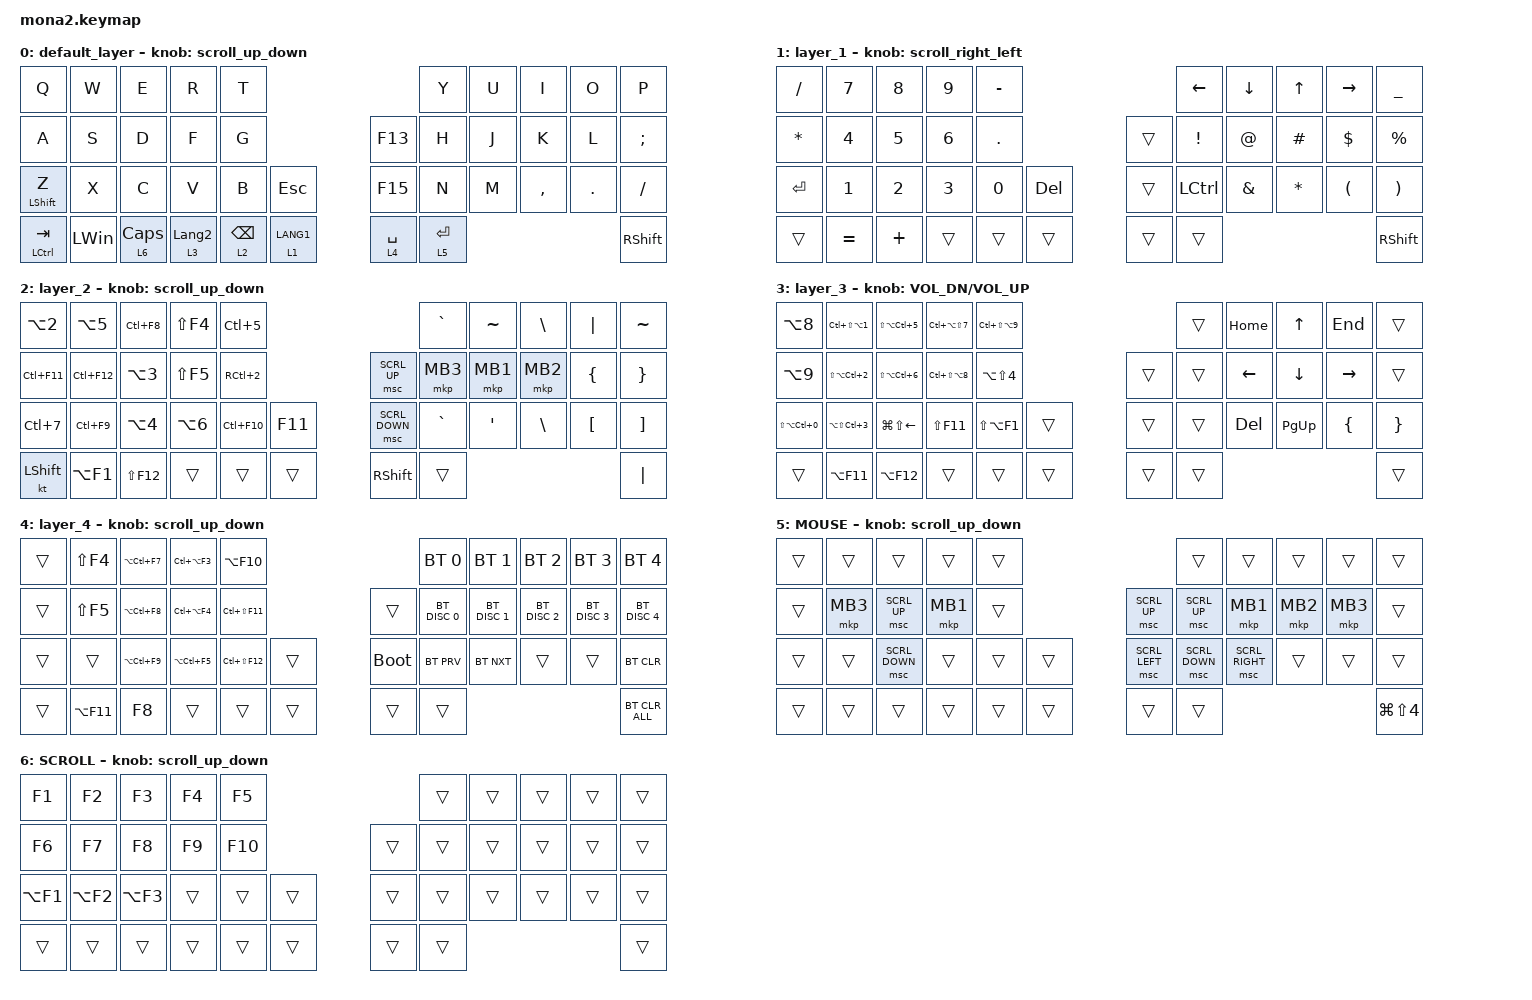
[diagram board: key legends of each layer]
#include <input/processors.dtsi>
#include <dt-bindings/zmk/input_transform.h>
#include <zephyr/dt-bindings/input/input-event-codes.h>
#include <behaviors.dtsi>
#include <dt-bindings/zmk/bt.h>
#include <dt-bindings/zmk/keys.h>
#include <dt-bindings/zmk/pointing.h>

#define ZMK_POINTING_DEFAULT_SCRL_VAL 100
#define MOUSE 5
#define SCROLL 6

&mt {
    flavor = "balanced";
    quick-tap-ms = <0>;
};

&lt {
    quick-tap-ms = <300>;
    flavor = "balanced";
};

/ {
    combos {
        compatible = "zmk,combos";

        layer4_ESC {
            bindings = <&lt 4 ESC>;
            key-positions = <39 38>;
        };

        tab {
            bindings = <&kp TAB>;
            key-positions = <11 12>;
        };
    };

    macros {
        to_layer_0: to_layer_0 {
            compatible = "zmk,behavior-macro-one-param";
            #binding-cells = <1>;
            bindings = <&to 0 &macro_param_1to1 &kp MACRO_PLACEHOLDER>;
            label = "TO_LAYER_0";
        };
    };

    behaviors {
        lt_to_layer_0: lt_to_layer_0 {
            compatible = "zmk,behavior-hold-tap";
            label = "LAYER_TAP_TO_0";
            bindings = <&mo>, <&to_layer_0>;

            #binding-cells = <2>;
            tapping-term-ms = <200>;
        };

        scroll_up_down: mouse_wheel_up_down {
            compatible = "zmk,behavior-sensor-rotate";
            #sensor-binding-cells = <0>;
            bindings = <&msc SCRL_DOWN>, <&msc SCRL_UP>;

            tap-ms = <20>;
        };

        scroll_right_left: mouse_wheel_right_left {
            compatible = "zmk,behavior-sensor-rotate";
            #sensor-binding-cells = <0>;
            bindings = <&msc SCRL_LEFT>, <&msc SCRL_RIGHT>;

            tap-ms = <20>;
        };
    };

    keymap {
        compatible = "zmk,keymap";

        default_layer {
            bindings = <
&kp Q             &kp W         &kp E       &kp R                        &kp T                                                              &kp Y         &kp U  &kp I      &kp O    &kp P
&kp A             &kp S         &kp D       &kp F                        &kp G                                      &kp F13                 &kp H         &kp J  &kp K      &kp L    &kp SEMICOLON
&mt LEFT_SHIFT Z  &kp X         &kp C       &kp V                        &kp B            &kp ESC                   &kp F15                 &kp N         &kp M  &kp COMMA  &kp DOT  &kp SLASH
&mt LCTRL TAB     &kp LEFT_WIN  &lt 6 CAPS  &lt_to_layer_0 3 LANGUAGE_2  &lt 2 BACKSPACE  &lt_to_layer_0 1 LANG1    &lt_to_layer_0 4 SPACE  &lt 5 RETURN                             &kp RIGHT_SHIFT
            >;

            sensor-bindings = <&scroll_up_down>;
        };

        layer_1 {
            bindings = <
&kp SLASH     &kp N7     &kp N8    &kp N9  &kp MINUS                        &kp LEFT         &kp DOWN_ARROW  &kp UP_ARROW  &kp RIGHT             &kp UNDERSCORE
&kp ASTERISK  &kp N4     &kp N5    &kp N6  &kp DOT                  &trans  &kp EXCLAMATION  &kp AT_SIGN     &kp HASH      &kp DOLLAR            &kp PERCENT
&kp ENTER     &kp N1     &kp N2    &kp N3  &kp N0     &kp DELETE    &trans  &kp LCTRL        &kp AMPERSAND   &kp ASTERISK  &kp LEFT_PARENTHESIS  &kp RIGHT_PARENTHESIS
&trans        &kp EQUAL  &kp PLUS  &trans  &trans     &trans        &trans  &trans                                                               &kp RIGHT_SHIFT
            >;

            sensor-bindings = <&scroll_right_left>;
        };

        layer_2 {
            bindings = <
&kp LA(NUMBER_2)  &kp LA(N5)   &kp LC(F8)        &kp LS(F4)        &kp LC(N5)                                    &kp GRAVE  &kp TILDE  &kp BACKSLASH  &kp PIPE          &kp TILDE
&kp LC(F11)       &kp LC(F12)  &kp LA(NUMBER_3)  &kp LS(F5)        &kp RC(NUMBER_2)             &msc SCRL_UP     &mkp MB3   &mkp MB1   &mkp MB2       &kp LEFT_BRACE    &kp RIGHT_BRACE
&kp LC(N7)        &kp LC(F9)   &kp LA(NUMBER_4)  &kp LA(NUMBER_6)  &kp LC(F10)       &kp F11    &msc SCRL_DOWN   &kp GRAVE  &kp SQT    &kp BSLH       &kp LEFT_BRACKET  &kp RIGHT_BRACKET
&kt LEFT_SHIFT    &kp LA(F1)   &kp LS(F12)       &trans            &trans            &trans     &kp RIGHT_SHIFT  &trans                                                 &kp PIPE
            >;

            sensor-bindings = <&scroll_up_down>;
        };

        layer_3 {
            bindings = <
&kp LA(N8)          &kp LC(LS(LA(NUMBER_1)))  &kp LS(LA(LC(N5)))        &kp LC(LA(LS(N7)))  &kp LC(LS(LA(N9)))                      &trans  &kp HOME        &kp UP_ARROW    &kp END          &trans
&kp LA(N9)          &kp LS(LA(LC(NUMBER_2)))  &kp LS(LA(LC(NUMBER_6)))  &kp LC(LS(LA(N8)))  &kp LA(LS(NUMBER_4))            &trans  &trans  &kp LEFT_ARROW  &kp DOWN_ARROW  &kp RIGHT_ARROW  &trans
&kp LS(LA(LC(N0)))  &kp LA(LS(LC(NUMBER_3)))  &kp LG(LS(LEFT_ARROW))    &kp LS(F11)         &kp LS(LA(F1))        &trans    &trans  &trans  &kp DELETE      &kp PAGE_UP     &kp LEFT_BRACE   &kp RIGHT_BRACE
&trans              &kp LA(F11)               &kp LA(F12)               &trans              &trans                &trans    &trans  &trans                                                   &trans
            >;

            sensor-bindings = <&inc_dec_kp C_VOL_DN C_VOL_UP>;
        };

        layer_4 {
            bindings = <
&trans  &kp LS(F4)   &kp LA(LC(F7))  &kp LC(LA(F3))  &kp LA(F10)                             &bt BT_SEL 0   &bt BT_SEL 1   &bt BT_SEL 2   &bt BT_SEL 3   &bt BT_SEL 4
&trans  &kp LS(F5)   &kp LA(LC(F8))  &kp LC(LA(F4))  &kp LC(LS(F11))            &trans       &bt BT_DISC 0  &bt BT_DISC 1  &bt BT_DISC 2  &bt BT_DISC 3  &bt BT_DISC 4
&trans  &trans       &kp LA(LC(F9))  &kp LA(LC(F5))  &kp LC(LS(F12))  &trans    &bootloader  &bt BT_PRV     &bt BT_NXT     &trans         &trans         &bt BT_CLR
&trans  &kp LA(F11)  &kp F8          &trans          &trans           &trans    &trans       &trans                                                      &bt BT_CLR_ALL
            >;

            sensor-bindings = <&scroll_up_down>;
        };

        MOUSE {
            bindings = <
&trans  &trans    &trans          &trans    &trans                            &trans          &trans           &trans    &trans    &trans
&trans  &mkp MB3  &msc SCRL_UP    &mkp MB1  &trans            &msc SCRL_UP    &msc SCRL_UP    &mkp MB1         &mkp MB2  &mkp MB3  &trans
&trans  &trans    &msc SCRL_DOWN  &trans    &trans  &trans    &msc SCRL_LEFT  &msc SCRL_DOWN  &msc SCRL_RIGHT  &trans    &trans    &trans
&trans  &trans    &trans          &trans    &trans  &trans    &trans          &trans                                               &kp LG(LS(NUMBER_4))
            >;

            sensor-bindings = <&scroll_up_down>;
        };

        SCROLL {
            bindings = <
&kp F1      &kp F2      &kp F3      &kp F4  &kp F5                     &trans  &trans  &trans  &trans  &trans
&kp F6      &kp F7      &kp F8      &kp F9  &kp F10            &trans  &trans  &trans  &trans  &trans  &trans
&kp LA(F1)  &kp LA(F2)  &kp LA(F3)  &trans  &trans   &trans    &trans  &trans  &trans  &trans  &trans  &trans
&trans      &trans      &trans      &trans  &trans   &trans    &trans  &trans                          &trans
            >;

            sensor-bindings = <&scroll_up_down>;
        };
    };
};
